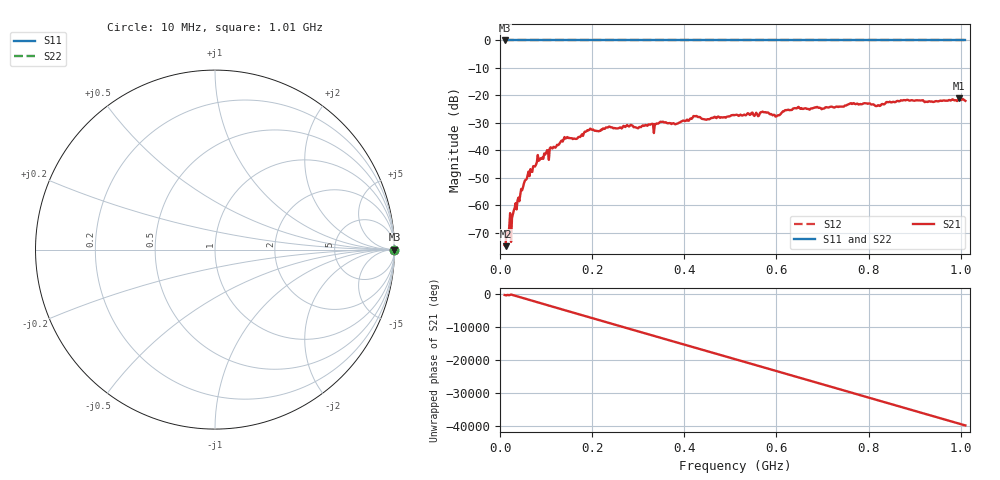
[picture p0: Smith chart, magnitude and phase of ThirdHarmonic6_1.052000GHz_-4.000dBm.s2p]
! 8/16/2025 9:18:11 AM
! C:\ANRITSUVNA\TEMP\TEMP.S2P
! CHANNEL.1
! TR.MEASUREMENT
! RAW.DATA
! RF.CORRECTION.OFF
! AVERAGING.OFF
! IF.BANDWIDTH: 5KHZ
! SWEEPTYPE:  FREQ.SWEEP(Linear)
! Reference Plane Port Info
! PORT:  PORT1  PORT2
! DISTANCE:  0  m  0  m
! TIME:  0  s  0  s
! PHASE.OFFSET:  0  deg.  0  deg.
! LOSS:  0  dB  0  dB
! REF.LOSS:  0  dB  0  dB
! REF.FREQ:  0  Hz  0  Hz
! Power Info
! POWER:  -20  dBm  -20  dBm
! EFF.POWER:  -20  dBm  -20  dBm
! SOURCE.ATTEN:  0  dB  0  dB
! TEST.ATTEN:  0  dB  0  dB
# GHZ S RI R 50.0
! FREQ.GHZ  S11RE  S11IM  S21RE  S21IM  S12RE  S12IM  S22RE  S22IM
!; PortSelection: Port_12
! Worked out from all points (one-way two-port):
!   501 points, 10 MHz to 1.01 GHz, reference 50 ohm
!   highest |S21| = -21.10 dB at 996 MHz (marker M1); lowest = -74.8 dB at 12 MHz (marker M2)
!   lowest |S11| = 0.0 dB at 10 MHz (marker M3)
!   |S11| at or under -10 dB: nowhere
!   |S22| runs from 0.0 to 0.0 dB; largest |S21 - S12| = 1.1
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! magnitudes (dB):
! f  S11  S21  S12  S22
! 10 MHz  0.0  -74.5  0.0  0.0
! 12 MHz  0.0  -74.8  0.0  0.0
! 18 MHz  0.0  -71.0  0.0  0.0
! 20 MHz  0.0  -68.0  0.0  0.0
! 28 MHz  0.0  -63.3  0.0  0.0
! 30 MHz  0.0  -61.8  0.0  0.0
! 50 MHz  0.0  -53.4  0.0  0.0
! 78 MHz  0.0  -45.2  0.0  0.0
! 142 MHz  0.0  -35.7  0.0  0.0
! 178 MHz  0.0  -34.1  0.0  0.0
! 194 MHz  0.0  -32.5  0.0  0.0
! 344 MHz  0.0  -30.2  0.0  0.0
! 384 MHz  0.0  -30.3  0.0  0.0
! 424 MHz  0.0  -27.6  0.0  0.0
! 510 MHz  0.0  -27.1  0.0  0.0
! 572 MHz  0.0  -26.1  0.0  0.0
! 602 MHz  0.0  -27.3  0.0  0.0
! 644 MHz  0.0  -24.7  0.0  0.0
! 678 MHz  0.0  -24.7  0.0  0.0
! 844 MHz  0.0  -22.4  0.0  0.0
! 996 MHz  0.0  -21.1  0.0  0.0
! 1.01 GHz  0.0  -22.0  0.0  0.0
